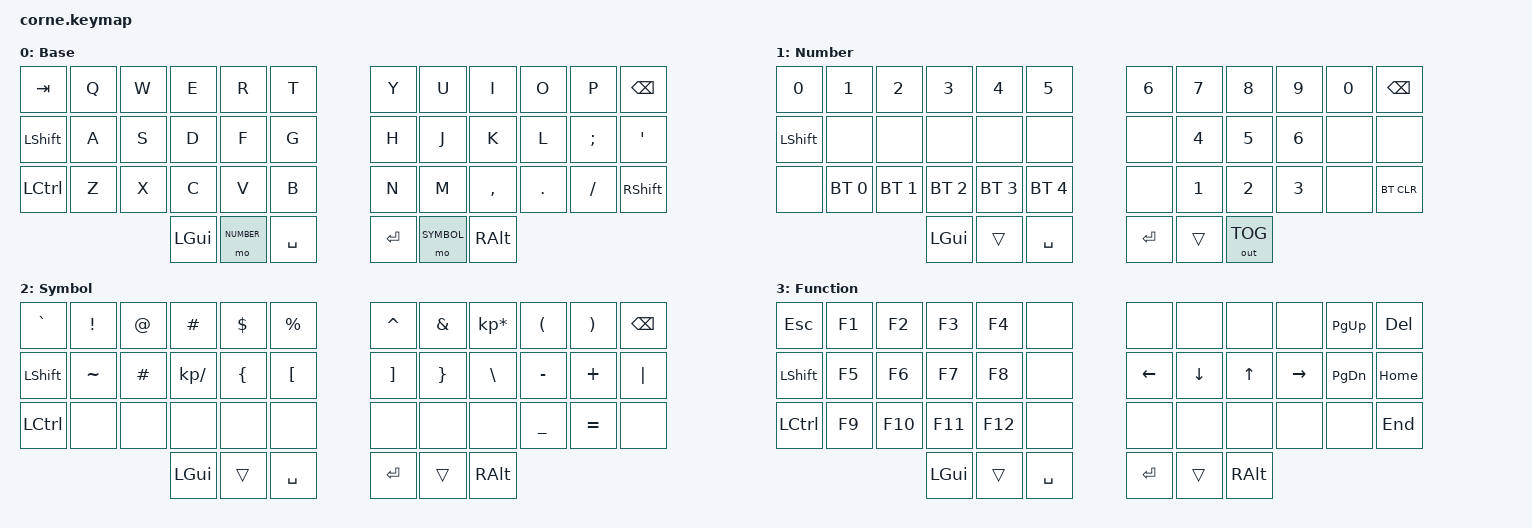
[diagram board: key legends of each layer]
/*
 * Copyright (c) 2020 The ZMK Contributors
 *
 * SPDX-License-Identifier: MIT
 */

#include <behaviors.dtsi>
#include <dt-bindings/zmk/keys.h>
#include <dt-bindings/zmk/bt.h>
#include <dt-bindings/zmk/outputs.h>

#define DEFAULT  0
#define NUMBER   1
#define SYMBOL  2
#define FUNCTION 3

/ {
    conditional_layers {
        compatible = "zmk,conditional-layers";
        function_layer {
            if-layers = <NUMBER SYMBOL>;
            then-layer = <FUNCTION>;
        };
    };

    keymap {
        compatible = "zmk,keymap";
        default_layer {
            // -----------------------------------------------------------------------------------------
            // |  TAB |  Q  |  W  |   E |  R  |  T  |   |  Y  |  U   |  I  |  O  |  P  | BKSP |
            // | SHFT |  A  |  S  |   D |  F  |  G  |   |  H  |  J   |  K  |  L  |  ;  |  '   |
            // | CTRL |  Z  |  X  |   C |  V  |  B  |   |  N  |  M   |  ,  |  .  |  /  | SHFT |
            //                    | GUI | LWR | SPC |   | ENT | RSE  | ALT |
            label = "Base";

            bindings = <
                &kp TAB        &kp Q      &kp W      &kp E      &kp R       &kp T      &kp Y      &kp U      &kp I          &kp O        &kp P         &kp BSPC
                &kp LSHFT      &kp A      &kp S      &kp D      &kp F       &kp G      &kp H      &kp J      &kp K          &kp L        &kp SEMI      &kp SQT
                &kp LCTRL      &kp Z      &kp X      &kp C      &kp V       &kp B      &kp N      &kp M      &kp COMMA      &kp DOT      &kp FSLH      &kp RSHFT
                &kp LGUI       &mo NUMBER &kp SPACE  &kp RET    &mo SYMBOL &kp RALT
            >;
        };

        lower_layer {
            // -----------------------------------------------------------------------------------------
            // |  0   |  1  |  2  |  3  |  4  |  5  |   |  6  |  7  |  8  |  9  |  0  | BKSP  |
            // | SHFT |     |     |     |     |     |   |     |  4  |  5  |  6  |     |       |
            // |      | BT1 | BT2 | BT3 | BT4 | BT5 |   |     |  1  |  2  |  3  |     | BTCLR |
            //                    | GUI |     | SPC |   | ENT |     | TOG |
            label = "Number";

            bindings = <
                &kp N0        &kp N1            &kp N2            &kp N3            &kp N4            &kp N5            &kp N6      &kp N7      &kp N8      &kp N9      &kp N0      &kp BSPC
                &kp LSHFT     &none             &none             &none             &none             &none             &none       &kp N4      &kp N5      &kp N6      &none       &none
                &none         &bt BT_SEL 0      &bt BT_SEL 1      &bt BT_SEL 2      &bt BT_SEL 3      &bt BT_SEL 4      &none       &kp N1      &kp N2      &kp N3      &none       &bt BT_CLR
                &kp LGUI      &trans            &kp SPACE         &kp RET           &trans            &out OUT_TOG
            >;
        };

        raise_layer {
            // -----------------------------------------------------------------------------------------
            // |  `~  |  !  |  @  |  #  |  $  |  %  |   |  ^  |  &  |  *  |  (  |  )  | BSPC |
            // | SHFT |  ~  |  #  |  /  |  {  |  [  |   |  ]  |  }  |  \  |  -  |  +  |   |  |
            // | CTRL |     |     |     |     |     |   |     |     |     |  _  |  =  |      |
            //                    | GUI |     | SPC |   | ENT |     | ALT |
            label = "Symbol";

            bindings = <
                &kp GRAVE      &kp EXCL       &kp AT        &kp HASH          &kp DLLR      &kp PRCNT      &kp CARET      &kp AMPS      &kp KP_MULTIPLY      &kp LPAR       &kp RPAR       &kp BSPC
                &kp LSHFT      &kp TILDE      &kp HASH      &kp KP_SLASH      &kp LBRC      &kp LBKT       &kp RBKT       &kp RBRC      &kp BSLH             &kp MINUS      &kp PLUS       &kp PIPE
                &kp LCTRL      &none          &none         &none             &none         &none          &none          &none         &none                &kp UNDER      &kp EQUAL      &none
                &kp LGUI       &trans         &kp SPACE     &kp RET           &trans        &kp RALT
            >;
        };

        function_layer {
            // -----------------------------------------------------------------------------------------
            // |  ESC |  F1  |  F2  |  F3  |  F4  |   |     |     |     |     | PGUP | DEL  |
            // | SHFT |  F5  |  F6  |  F7  |  F8  |   |  <- |  v  |  ^  |  -> | PGDN | HOME |
            // | CTRL |  F9  |  F10 |  F11 |  F12 |   |     |     |     |     |      | END  |
            //               | GUI  |      |  SPC |   | ENT |     | ALT |
            label = "Function";

            bindings = <
                &kp ESC       &kp F1      &kp F2       &kp F3       &kp F4       &none       &none         &none         &none       &none          &kp PG_UP      &kp DEL
                &kp LSHFT     &kp F5      &kp F6       &kp F7       &kp F8       &none       &kp LEFT      &kp DOWN      &kp UP      &kp RIGHT      &kp PG_DN      &kp HOME
                &kp LCTRL     &kp F9      &kp F10      &kp F11      &kp F12      &none       &none         &none         &none       &none          &none          &kp END
                &kp LGUI      &trans      &kp SPACE    &kp RET      &trans       &kp RALT
            >;
        };
    };
};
